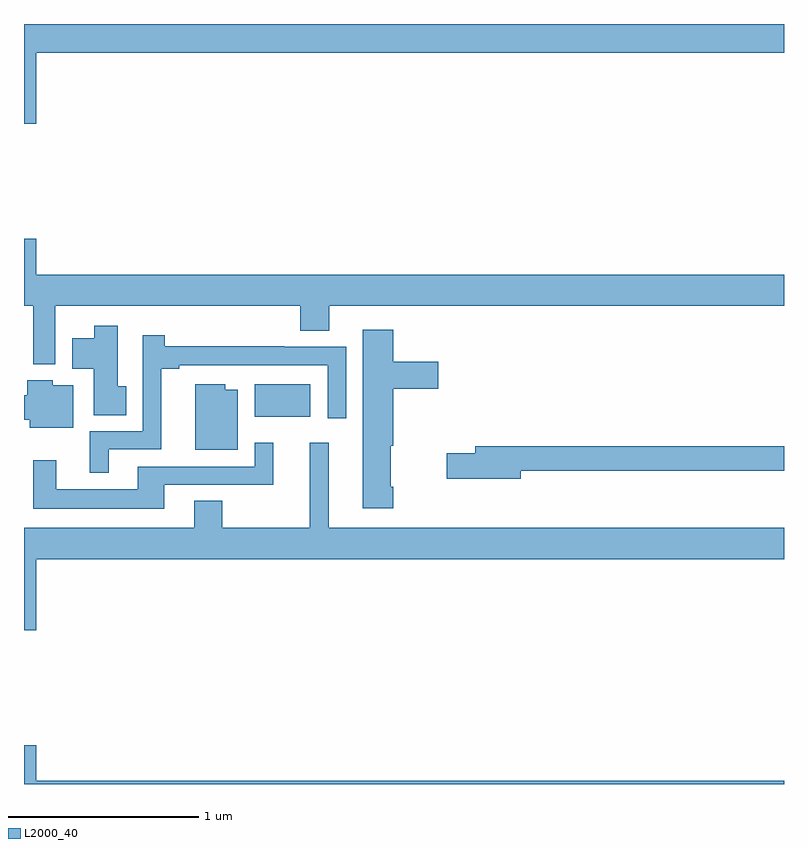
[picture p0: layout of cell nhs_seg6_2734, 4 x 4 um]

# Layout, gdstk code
import gdstk
lib = gdstk.Library(unit=1e-6, precision=1e-09)
def R(c, l, rs):  # rectangles x0, y0, x1, y1
    for r in rs: c.add(gdstk.rectangle(r[:2], r[2:], *l))
def P(c, l, *ps):  # polygons
    for p in ps: c.add(gdstk.Polygon(p, *l))
L2000_40 = (2000, 40)

nhs_seg6_2734 = lib.new_cell('nhs_seg6_2734')
R(nhs_seg6_2734, L2000_40, [(274.214,933.434,274.507,933.604)])
P(nhs_seg6_2734, L2000_40, [(273.064,935.348),(277,935.348),(277,935.5),(273,935.5),(273,934.974),(273.064,934.974)],
  [(273.165,934.016),(274.454,934.016),(274.454,933.886),(274.606,933.886),(274.606,934.016),(277,934.016),(277,934.18),(273.064,934.18),(273.064,934.369),(273,934.369),(273,934.016),(273.049,934.016),(273.049,933.71),(273.165,933.71)],
  [(273.539,933.594),(273.493,933.594),(273.493,933.913),(273.371,933.913),(273.371,933.847),(273.254,933.847),(273.254,933.686),(273.368,933.686),(273.368,933.442),(273.539,933.442)],
  [(274.943,933.064),(274.93,933.064),(274.93,933.281),(274.943,933.281),(274.943,933.581),(275.179,933.581),(275.179,933.723),(274.943,933.723),(274.943,933.892),(274.784,933.892),(274.784,932.952),(274.943,932.952)],
  [(273.445,933.261),(273.722,933.261),(273.722,933.685),(273.817,933.685),(273.817,933.705),(274.599,933.705),(274.599,933.426),(274.695,933.426),(274.695,933.801),(274.37,933.801),(274.37,933.803),(273.74,933.803),(273.74,933.862),(273.624,933.862),(273.624,933.357),(273.347,933.357),(273.347,933.137),(273.445,933.137)],
  [(273.259,933.598),(273.15,933.598),(273.15,933.625),(273.017,933.625),(273.017,933.547),(273,933.547),(273,933.418),(273.029,933.418),(273.029,933.374),(273.259,933.374)],
  [(274.126,933.574),(274.06,933.574),(274.06,933.604),(273.902,933.604),(273.902,933.26),(274.126,933.26)],
  [(273.739,933.075),(274.313,933.075),(274.313,933.295),(274.215,933.295),(274.215,933.171),(273.599,933.171),(273.599,933.052),(273.169,933.052),(273.169,933.205),(273.048,933.205),(273.048,932.948),(273.739,932.948)],
  [(273.064,932.684),(277,932.684),(277,932.848),(274.604,932.848),(274.604,933.295),(274.505,933.295),(274.505,932.848),(274.044,932.848),(274.044,932.99),(273.896,932.99),(273.896,932.848),(273,932.848),(273,932.31),(273.064,932.31)],
  [(275.614,933.15),(277,933.15),(277,933.278),(275.375,933.278),(275.375,933.242),(275.226,933.242),(275.226,933.107),(275.614,933.107)],
  [(277,931.516),(273.064,931.516),(273.064,931.705),(273,931.705),(273,931.5),(277,931.5)])

lib.write_gds('nhs_seg6_2734.gds')
